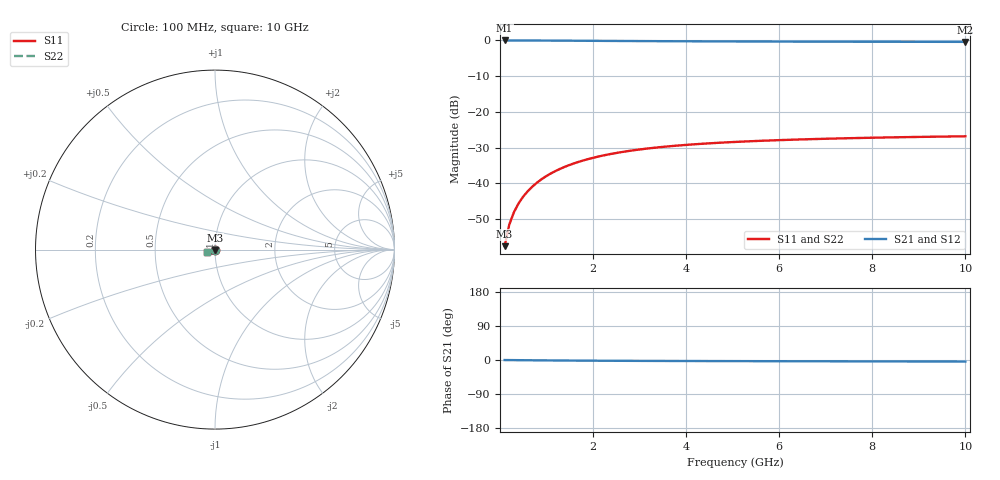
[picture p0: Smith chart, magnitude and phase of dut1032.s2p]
! Touchstone file exported from HFSS 2024.1.0
!  File:  C:/UserFiles/LocalFiles/RDL_TSV_Batchsim/temp_TSV1_1032_1780060868.aedt
!  Generated:  09:27:46 PM May 29, 2026
!  Design:  TSV1
!  Project:  temp_TSV1_1032_1780060868
!  Setup:  Setup1
!  Solution:  Sweep
! Variables:
!  dtsv = 13.9um
!  hbump = 3um
!  htsv = 61.13um
!  lrdl = 252.1521522um
!  p = 40
!  p1 = 50.25um
!  t = 500um
!  trdl = 3um
!  wrdl = 24.89489489um
# GHz S MA R 50.000000
! Terminal data exported
! Port[1] = TSV22_T1
! Port[2] = TSV22_T2
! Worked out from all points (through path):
!   100 points, 100 MHz to 10 GHz, reference 50 ohm
!   highest |S21| = 0.00 dB at 100 MHz (marker M1); lowest = -0.4 dB at 10 GHz (marker M2)
!   lowest |S11| = -57.6 dB at 100 MHz (marker M3), VSWR 1.00, Z = 50 - j0.132 ohm
!   |S11| at or under -10 dB: start of sweep to end of sweep
!   |S22| runs from -57.6 to -26.8 dB; largest |S21 - S12| = 3.4e-15
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0.1  0.001324 -88.6  0.9999 -0.1  0.9999 -0.1  0.001324 -88.6
! Gamma 0 0 0 0
! Port Impedance 50 0 50 0
0.2  0.002641 -91.9  0.9998 -0.2  0.9998 -0.2  0.002641 -91.9
0.3  0.003952 -94.2  0.9995 -0.3  0.9995 -0.3  0.003952 -94.2
0.4  0.005254 -96.2  0.9993 -0.4  0.9993 -0.4  0.005254 -96.2
0.5  0.006543 -98.1  0.9989 -0.6  0.9989 -0.6  0.006543 -98.1
0.6  0.007817 -99.9  0.9984 -0.7  0.9984 -0.7  0.007817 -99.9
0.7  0.009071 -101.6  0.9979 -0.8  0.9979 -0.8  0.009071 -101.6
0.8  0.0103 -103.3  0.9974 -0.9  0.9974 -0.9  0.0103 -103.3
0.9  0.01151 -105.0  0.9968 -1.0  0.9968 -1.0  0.01151 -105.0
1.1  0.01385 -108.2  0.9954 -1.1  0.9954 -1.1  0.01385 -108.2
1.4  0.01712 -112.7  0.9931 -1.4  0.9931 -1.4  0.01712 -112.7
1.6  0.01915 -115.6  0.9914 -1.6  0.9914 -1.6  0.01915 -115.6
1.8  0.02104 -118.3  0.9897 -1.7  0.9897 -1.7  0.02104 -118.3
2.1  0.02363 -122.1  0.9872 -1.9  0.9872 -1.9  0.02363 -122.1
2.5  0.02665 -126.7  0.9839 -2.1  0.9839 -2.1  0.02665 -126.7
2.9  0.02923 -130.8  0.9808 -2.3  0.9808 -2.3  0.02923 -130.8
3.4  0.03193 -135.3  0.9773 -2.5  0.9773 -2.5  0.03193 -135.3
4.2  0.03532 -141.3  0.9724 -2.7  0.9724 -2.7  0.03532 -141.3
5.1  0.03815 -146.8  0.968 -3.0  0.968 -3.0  0.03815 -146.8
6.7  0.04163 -154.2  0.9623 -3.4  0.9623 -3.4  0.04163 -154.2
8.4  0.04404 -160.1  0.9582 -3.8  0.9582 -3.8  0.04404 -160.1
10  0.04559 -164.7  0.9555 -4.2  0.9555 -4.2  0.04559 -164.7
